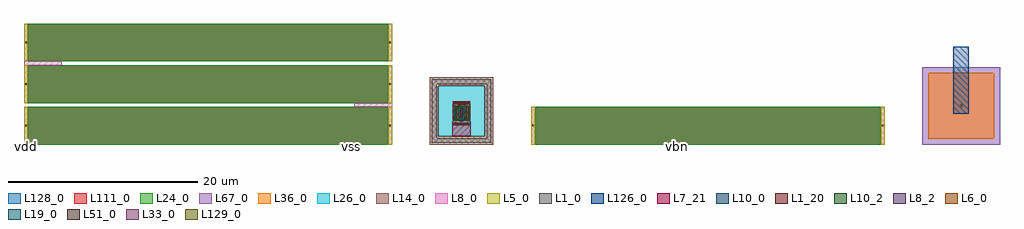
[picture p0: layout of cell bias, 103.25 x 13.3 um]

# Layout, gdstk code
import gdstk
lib = gdstk.Library(unit=1e-6, precision=1e-09)
def R(c, l, rs):  # rectangles x0, y0, x1, y1
    for r in rs: c.add(gdstk.rectangle(r[:2], r[2:], *l))
def A(c, l, x, y, w, h, nx, ny, dx, dy):  # array of equal rectangles
    R(c, l, [(x+i*dx, y+j*dy, x+i*dx+w, y+j*dy+h) for i in range(nx) for j in range(ny)])
def P(c, l, *ps):  # polygons
    for p in ps: c.add(gdstk.Polygon(p, *l))
L1_0 = (1, 0)
L1_20 = (1, 20)
L5_0 = (5, 0)
L6_0 = (6, 0)
L7_21 = (7, 21)
L8_0 = (8, 0)
L8_2 = (8, 2)
L10_0 = (10, 0)
L10_2 = (10, 2)
L14_0 = (14, 0)
L19_0 = (19, 0)
L24_0 = (24, 0)
L26_0 = (26, 0)
L33_0 = (33, 0)
L36_0 = (36, 0)
L51_0 = (51, 0)
L67_0 = (67, 0)
L111_0 = (111, 0)
L126_0 = (126, 0)
L128_0 = (128, 0)
L129_0 = (129, 0)

bias_xrref__core = lib.new_cell('bias_XRref__core')
A(bias_xrref__core, L5_0, 0, 0, 0.42, 4, 1, 3, 0, 4.4)
A(bias_xrref__core, L5_0, 38.52, 0, 0.42, 4, 1, 3, 0, 4.4)
A(bias_xrref__core, L6_0, 0.13, 1.92, 0.16, 0.16, 1, 3, 0, 4.4)
A(bias_xrref__core, L6_0, 38.65, 1.92, 0.16, 0.16, 1, 3, 0, 4.4)
A(bias_xrref__core, L8_0, 0, 0, 0.42, 4, 1, 3, 0, 4.4)
A(bias_xrref__core, L8_0, 38.52, 0, 0.42, 4, 1, 3, 0, 4.4)
R(bias_xrref__core, L8_0, [(34.94,4,38.94,4.4), (0,8.4,4,8.8)])
A(bias_xrref__core, L24_0, 0.42, 0, 38.1, 4, 1, 3, 0, 4.4)
A(bias_xrref__core, L111_0, 0.42, 0, 38.1, 4, 1, 3, 0, 4.4)
A(bias_xrref__core, L128_0, 0.42, 0, 38.1, 4, 1, 3, 0, 4.4)

bias_xrref = lib.new_cell('bias_XRref')
bias_xrref.add(gdstk.Reference(bias_xrref__core, (0,0)))

npn13g2_base_cdns_675179 = lib.new_cell('npn13G2_base_CDNS_675179387640')
R(npn13g2_base_cdns_675179, L1_0, [(-0.925,-1.28,0.925,-0.98)])
P(npn13g2_base_cdns_675179, L1_20, [(-0.925,-0.98),(-0.925,0.62),(-0.445,0.62),(-0.235,0.83),(0.235,0.83),(0.445,0.62),(0.925,0.62),(0.925,-0.98)])
R(npn13g2_base_cdns_675179, L6_0, [(-0.825,-1.21,0.825,-1.05), (-0.76,1.06,0.76,1.22)])
P(npn13g2_base_cdns_675179, L7_21, [(-0.305,-0.94),(-0.555,-0.69),(-0.555,0.48),(-0.975,0.9),(-0.975,2.43),(0.975,2.43),(0.975,0.9),(0.555,0.48),(0.555,-0.69),(0.305,-0.94)])
R(npn13g2_base_cdns_675179, L8_0, [(-0.925,-1.25,0.925,-1.01), (-0.35,-0.77,0.35,0.785), (-0.975,1.02,0.975,1.26)])
R(npn13g2_base_cdns_675179, L10_0, [(-0.925,-0.77,0.925,0.785)])
A(npn13g2_base_cdns_675179, L19_0, -0.3, -0.7, 0.19, 0.19, 1, 4, 0, 0.41)
A(npn13g2_base_cdns_675179, L19_0, 0.11, -0.7, 0.19, 0.19, 1, 4, 0, 0.41)
R(npn13g2_base_cdns_675179, L33_0, [(-0.035,-0.45,0.035,0.45), (-0.035,-0.45,0.035,0.45)])
R(npn13g2_base_cdns_675179, L51_0, [(-0.085,-0.5,0.085,0.5)])
npn13g2_base_cdns_675179.add(gdstk.Label('npn13G2', (0.015,-2.31), layer=63, texttype=0))
npn13g2_base_cdns_675179.add(gdstk.Label('npn13G2_base', (0,0), layer=51, texttype=0))

npn13g2 = lib.new_cell('npn13G2')
P(npn13g2, L1_0, [(-3.15,-3.13),(-3.15,3.58),(2.65,3.58),(2.65,3.08),(-2.65,3.08),(-2.65,-2.63),(2.65,-2.63),(2.65,3.58),(3.15,3.58),(3.15,-3.13)])
R(npn13g2, L8_2, [(-0.965,-1.26,0.975,-1.02), (-0.915,1.01,0.925,1.25)])
R(npn13g2, L10_2, [(-0.745,-0.78,0.745,0.77)])
P(npn13g2, L14_0, [(-3.35,-3.33),(-3.35,3.78),(2.45,3.78),(2.45,2.88),(-2.45,2.88),(-2.45,-2.43),(2.45,-2.43),(2.45,3.78),(3.35,3.78),(3.35,-3.33)])
R(npn13g2, L26_0, [(-2.45,-2.43,2.45,2.88)])
npn13g2.add(gdstk.Reference(npn13g2_base_cdns_675179, (0,0), x_reflection=True))
npn13g2.add(gdstk.Label('Ae=1*1*0.07*0.90', (-1.977,-2.546), layer=63, texttype=0))
npn13g2.add(gdstk.Label('E', (0,-0.005), layer=63, texttype=0))
npn13g2.add(gdstk.Label('B', (0.005,-1.14), layer=63, texttype=0))
npn13g2.add(gdstk.Label('C', (0.005,1.13), layer=63, texttype=0))

bias_xqref = lib.new_cell('bias_XQref')
bias_xqref.add(gdstk.Reference(npn13g2, (3.35,3.33)))

bias_xrer__core = lib.new_cell('bias_XRer__core')
R(bias_xrer__core, L5_0, [(0,0,0.42,4), (36.99,0,37.41,4)])
R(bias_xrer__core, L6_0, [(0.13,1.92,0.29,2.08), (37.12,1.92,37.28,2.08)])
R(bias_xrer__core, L8_0, [(0,0,0.42,4), (36.99,0,37.41,4)])
R(bias_xrer__core, L24_0, [(0.42,0,36.99,4)])
R(bias_xrer__core, L111_0, [(0.42,0,36.99,4)])
R(bias_xrer__core, L128_0, [(0.42,0,36.99,4)])

bias_xrer = lib.new_cell('bias_XRer')
bias_xrer.add(gdstk.Reference(bias_xrer__core, (0,0)))

bias_xcvbn__core = lib.new_cell('bias_XCvbn__core')
R(bias_xcvbn__core, L36_0, [(0.6,0.6,7.6,7.6)])
R(bias_xcvbn__core, L67_0, [(0,0,8.2,8.2)])
R(bias_xcvbn__core, L126_0, [(3.28,3.28,4.92,4.92), (3.28,4.92,4.92,8.7), (3.28,8.7,4.92,10.34)])
R(bias_xcvbn__core, L129_0, [(3.99,3.99,4.21,4.21)])

bias_xcvbn = lib.new_cell('bias_XCvbn')
bias_xcvbn.add(gdstk.Reference(bias_xcvbn__core, (0,0)))

bias = lib.new_cell('bias')
A(bias, L10_0, 0, -0.5, 0.5, 0.5, 3, 1, 34.416, 0)
A(bias, L10_2, 0, -0.5, 0.5, 0.5, 3, 1, 34.416, 0)
bias.add(gdstk.Reference(bias_xrref, (0,0)))
bias.add(gdstk.Reference(bias_xqref, (42.94,0)))
bias.add(gdstk.Reference(bias_xrer, (53.64,0)))
bias.add(gdstk.Reference(bias_xcvbn, (95.05,0)))
bias.add(gdstk.Label('vdd', (0.25,-0.25), layer=10, texttype=25))
bias.add(gdstk.Label('vss', (34.666,-0.25), layer=10, texttype=25))
bias.add(gdstk.Label('vbn', (69.082,-0.25), layer=10, texttype=25))

lib.write_gds('bias.gds')
